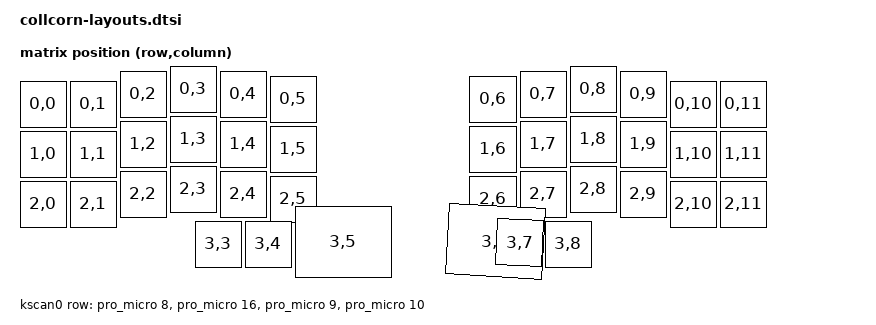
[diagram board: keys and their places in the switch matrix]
#include <physical_layouts.dtsi>
#include <dt-bindings/zmk/matrix_transform.h>

/ {
    chosen {
        zmk,kscan = &kscan0;
        zmk,physical-layout = &physical_layout0;
    };

    kscan0: kscan {
        compatible = "zmk,kscan-gpio-matrix";
        diode-direction = "col2row";

        row-gpios
            = <&pro_micro 8 (GPIO_ACTIVE_HIGH | GPIO_PULL_DOWN)>,
              <&pro_micro 16 (GPIO_ACTIVE_HIGH | GPIO_PULL_DOWN)>,
              <&pro_micro 9 (GPIO_ACTIVE_HIGH | GPIO_PULL_DOWN)>,
              <&pro_micro 10 (GPIO_ACTIVE_HIGH | GPIO_PULL_DOWN)>
              ;
    };

    transform: matrix_transform {
        compatible = "zmk,matrix-transform";
        rows = <4>;
        columns = <12>;

        map = <
                RC(0, 0) RC(0, 1) RC(0, 2) RC(0, 3) RC(0, 4) RC(0, 5)      RC(0, 6) RC(0, 7) RC(0, 8) RC(0, 9) RC(0, 10) RC(0, 11)
                RC(1, 0) RC(1, 1) RC(1, 2) RC(1, 3) RC(1, 4) RC(1, 5)      RC(1, 6) RC(1, 7) RC(1, 8) RC(1, 9) RC(1, 10) RC(1, 11)
                RC(2, 0) RC(2, 1) RC(2, 2) RC(2, 3) RC(2, 4) RC(2, 5)      RC(2, 6) RC(2, 7) RC(2, 8) RC(2, 9) RC(2, 10) RC(2, 11)
                                           RC(3, 3) RC(3, 4) RC(3, 5)      RC(3, 6) RC(3, 7) RC(3, 8) 
        >;
    };



    physical_layout0: physical_layout {
        compatible = "zmk,physical-layout";
        display-name = "Default";

        keys  //                     w   h    x    y     rot    rx    ry
            = <&key_physical_attrs 100 100    0   30       0     0     0>
            , <&key_physical_attrs 100 100  100   30       0     0     0>
            , <&key_physical_attrs 100 100  200   10       0     0     0>
            , <&key_physical_attrs 100 100  300    0       0     0     0>
            , <&key_physical_attrs 100 100  400   10       0     0     0>
            , <&key_physical_attrs 100 100  500   20       0     0     0>

            , <&key_physical_attrs 100 100  900   20       0     0     0>
            , <&key_physical_attrs 100 100 1000   10       0     0     0>
            , <&key_physical_attrs 100 100 1100    0       0     0     0>
            , <&key_physical_attrs 100 100 1200   10       0     0     0>
            , <&key_physical_attrs 100 100 1300   30       0     0     0>
            , <&key_physical_attrs 100 100 1400   30       0     0     0>



            , <&key_physical_attrs 100 100    0  130       0     0     0>
            , <&key_physical_attrs 100 100  100  130       0     0     0>
            , <&key_physical_attrs 100 100  200  110       0     0     0>
            , <&key_physical_attrs 100 100  300  100       0     0     0>
            , <&key_physical_attrs 100 100  400  110       0     0     0>
            , <&key_physical_attrs 100 100  500  120       0     0     0>

            , <&key_physical_attrs 100 100  900  120       0     0     0>
            , <&key_physical_attrs 100 100 1000  110       0     0     0>
            , <&key_physical_attrs 100 100 1100  100       0     0     0>
            , <&key_physical_attrs 100 100 1200  110       0     0     0>
            , <&key_physical_attrs 100 100 1300  130       0     0     0>
            , <&key_physical_attrs 100 100 1400  130       0     0     0>



            , <&key_physical_attrs 100 100    0  230       0     0     0>
            , <&key_physical_attrs 100 100  100  230       0     0     0>
            , <&key_physical_attrs 100 100  200  210       0     0     0>
            , <&key_physical_attrs 100 100  300  200       0     0     0>
            , <&key_physical_attrs 100 100  400  210       0     0     0>
            , <&key_physical_attrs 100 100  500  220       0     0     0>

            , <&key_physical_attrs 100 100  900  220       0     0     0>
            , <&key_physical_attrs 100 100 1000  210       0     0     0>
            , <&key_physical_attrs 100 100 1100  200       0     0     0>
            , <&key_physical_attrs 100 100 1200  210       0     0     0>
            , <&key_physical_attrs 100 100 1300  230       0     0     0>
            , <&key_physical_attrs 100 100 1400  230       0     0     0>

            


            , <&key_physical_attrs 100 100  350  310       0     0     0>
            , <&key_physical_attrs 100 100  450  310      15   450   410>
            , <&key_physical_attrs 200 150  550  280      30   540   430>

            , <&key_physical_attrs 200 150  850  280     330   960   430>
            , <&key_physical_attrs 100 100  950  310     345  1050   410>
            , <&key_physical_attrs 100 100 1050  310       0     0     0>
            ;
    };
};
